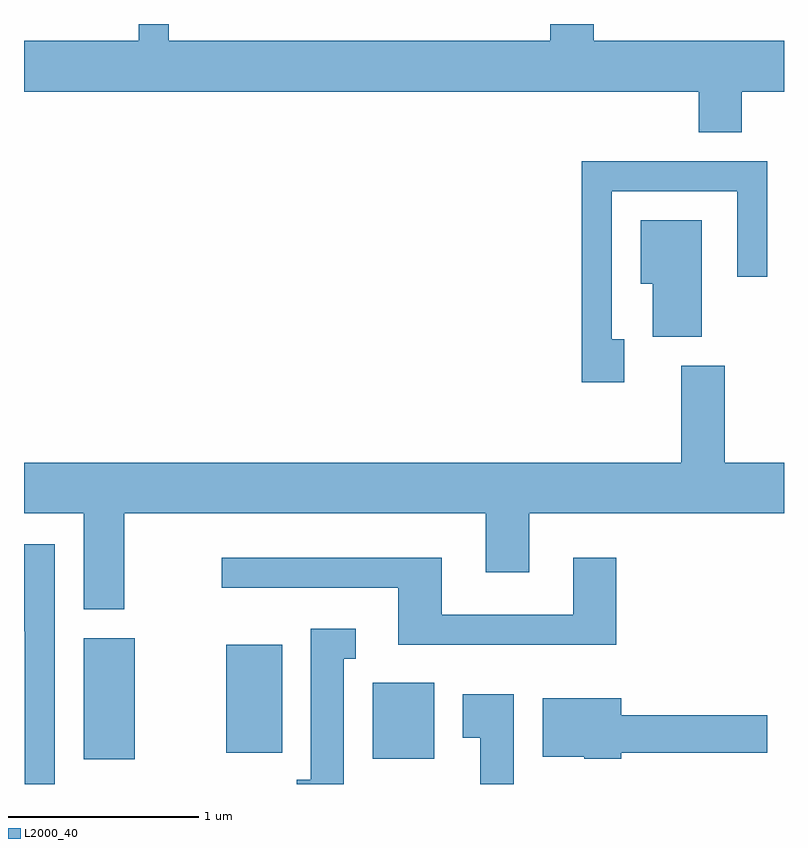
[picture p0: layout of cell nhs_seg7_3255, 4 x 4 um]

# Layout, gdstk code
import gdstk
lib = gdstk.Library(unit=1e-6, precision=1e-09)
def R(c, l, rs):  # rectangles x0, y0, x1, y1
    for r in rs: c.add(gdstk.rectangle(r[:2], r[2:], *l))
def P(c, l, *ps):  # polygons
    for p in ps: c.add(gdstk.Polygon(p, *l))
L2000_40 = (2000, 40)

nhs_seg7_3255 = lib.new_cell('nhs_seg7_3255')
R(nhs_seg7_3255, L2000_40, [(285.926,1686.381,286.194,1687.019), (287.446,1686.386,287.769,1686.784), (286.676,1686.416,286.969,1686.984)])
P(nhs_seg7_3255, L2000_40, [(289.389,1689.896),(289.611,1689.896),(289.611,1690.164),(288.609,1690.164),(288.609,1690.252),(288.381,1690.252),(288.381,1690.164),(286.374,1690.164),(286.374,1690.252),(286.216,1690.252),(286.216,1690.164),(285.611,1690.164),(285.611,1689.896),(289.161,1689.896),(289.161,1689.681),(289.389,1689.681)],
  [(288.769,1688.594),(288.704,1688.594),(288.704,1689.371),(289.366,1689.371),(289.366,1688.923),(289.524,1688.923),(289.524,1689.529),(288.546,1689.529),(288.546,1688.366),(288.769,1688.366)],
  [(289.179,1689.219),(288.856,1689.219),(288.856,1688.886),(288.921,1688.886),(288.921,1688.606),(289.179,1688.606)],
  [(286.139,1687.676),(288.041,1687.676),(288.041,1687.366),(288.269,1687.366),(288.269,1687.676),(289.611,1687.676),(289.611,1687.944),(289.299,1687.944),(289.299,1688.454),(289.071,1688.454),(289.071,1687.944),(285.611,1687.944),(285.611,1687.676),(285.926,1687.676),(285.926,1687.171),(286.139,1687.171)],
  [(285.774,1687.514),(285.611,1687.514),(285.611,1687.056),(285.616,1687.056),(285.616,1686.252),(285.774,1686.252)],
  [(288.729,1687.444),(288.501,1687.444),(288.501,1687.144),(287.809,1687.144),(287.809,1687.444),(286.653,1687.444),(286.653,1687.286),(287.581,1687.286),(287.581,1686.986),(288.729,1686.986)],
  [(287.294,1686.911),(287.358,1686.911),(287.358,1687.069),(287.121,1687.069),(287.121,1686.274),(287.046,1686.274),(287.046,1686.252),(287.294,1686.252)],
  [(288.189,1686.724),(287.921,1686.724),(287.921,1686.496),(288.011,1686.496),(288.011,1686.252),(288.189,1686.252)],
  [(288.754,1686.416),(289.524,1686.416),(289.524,1686.614),(288.754,1686.614),(288.754,1686.704),(288.341,1686.704),(288.341,1686.396),(288.56,1686.396),(288.56,1686.386),(288.754,1686.386)])

lib.write_gds('nhs_seg7_3255.gds')
